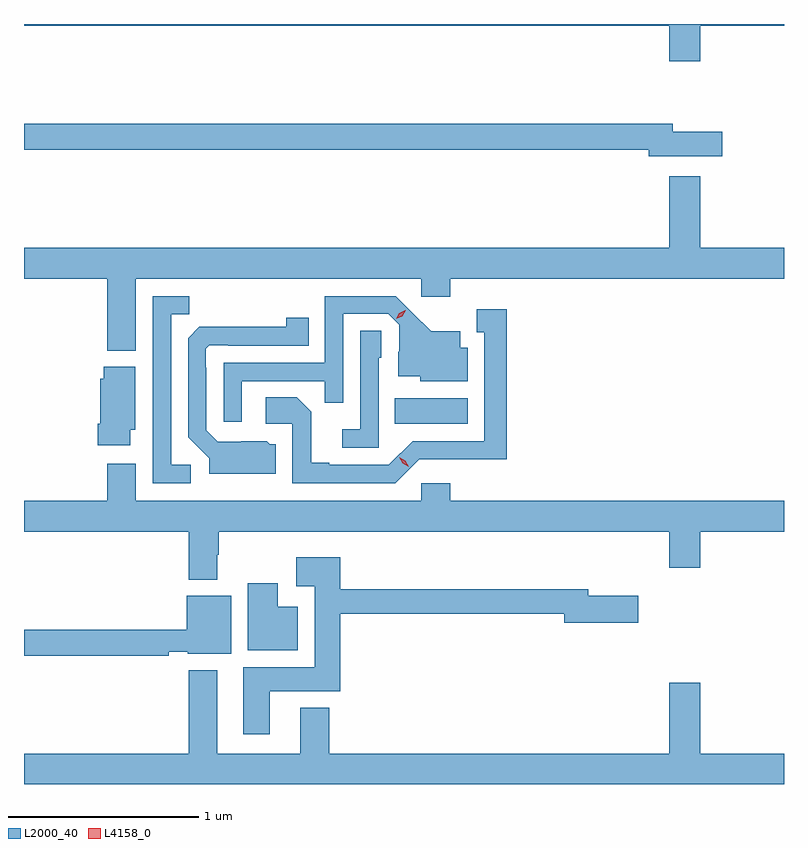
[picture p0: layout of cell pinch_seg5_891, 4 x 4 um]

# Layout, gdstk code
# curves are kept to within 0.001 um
import gdstk
lib = gdstk.Library(unit=1e-6, precision=1e-09)
def R(c, l, rs):  # rectangles x0, y0, x1, y1
    for r in rs: c.add(gdstk.rectangle(r[:2], r[2:], *l))
def P(c, l, *ps):  # polygons
    for p in ps: c.add(gdstk.Polygon(p, *l))
L2000_40 = (2000, 40)
L4158_0 = (4158, 0)

pinch_seg5_891 = lib.new_cell('pinch_seg5_891')
R(pinch_seg5_891, L2000_40, [(738.988,897.29,739.372,897.424)])
P(pinch_seg5_891, L2000_40, [(740.596,899.384),(741.037,899.384),(741.037,899.393),(737.037,899.393),(737.037,899.384),(740.432,899.384),(740.432,899.196),(740.596,899.196)],
  [(740.713,898.827),(740.452,898.827),(740.452,898.868),(737.037,898.868),(737.037,898.732),(740.324,898.732),(740.324,898.697),(740.713,898.697)],
  [(737.626,898.052),(739.128,898.052),(739.128,897.957),(739.28,897.957),(739.28,898.052),(741.037,898.052),(741.037,898.216),(740.596,898.216),(740.596,898.591),(740.432,898.591),(740.432,898.216),(737.037,898.216),(737.037,898.052),(737.474,898.052),(737.474,897.674),(737.626,897.674)],
  [(738.183,897.513),(738.619,897.513),(738.619,897.4),(738.717,897.4),(738.717,897.867),(738.954,897.867),(739.011,897.81),(739.011,897.668),(739.007,897.668),(739.007,897.539),(739.122,897.539),(739.122,897.512),(739.372,897.512),(739.372,897.688),(739.333,897.688),(739.333,897.775),(739.181,897.775),(738.994,897.96),(738.621,897.96),(738.621,897.609),(738.087,897.609),(738.087,897.3),(738.183,897.3)],
  [(737.914,897.072),(737.811,897.072),(737.811,897.865),(737.907,897.865),(737.907,897.96),(737.715,897.96),(737.715,896.976),(737.914,896.976)],
  [(739.116,897.102),(739.579,897.101),(739.579,897.892),(739.421,897.892),(739.421,897.771),(739.46,897.771),(739.46,897.198),(739.083,897.198),(738.957,897.072),(738.643,897.072),(738.643,897.085),(738.549,897.085),(738.549,897.352),(738.473,897.428),(738.309,897.428),(738.309,897.288),(738.45,897.288),(738.45,896.976),(738.99,896.976)],
  [(738.361,897.18),(738.33,897.18),(738.314,897.196),(738.057,897.195),(737.997,897.255),(737.997,897.584),(737.994,897.584),(737.994,897.684),(738.012,897.702),(738.112,897.702),(738.112,897.699),(738.536,897.699),(738.536,897.847),(738.418,897.847),(738.418,897.8),(737.96,897.799),(737.901,897.74),(737.901,897.218),(738.011,897.108),(738.011,897.026),(738.361,897.026)],
  [(738.903,897.636),(738.918,897.636),(738.918,897.779),(738.807,897.779),(738.807,897.259),(738.711,897.259),(738.711,897.162),(738.903,897.162)],
  [(737.596,897.258),(737.623,897.258),(737.623,897.589),(737.456,897.589),(737.456,897.525),(737.438,897.525),(737.438,897.289),(737.426,897.289),(737.426,897.177),(737.596,897.177)],
  [(738.055,896.6),(738.063,896.6),(738.063,896.72),(740.432,896.72),(740.432,896.532),(740.596,896.532),(740.596,896.72),(741.037,896.72),(741.037,896.884),(739.28,896.884),(739.28,896.977),(739.128,896.977),(739.128,896.884),(737.626,896.884),(737.626,897.079),(737.474,897.079),(737.474,896.884),(737.037,896.884),(737.037,896.72),(737.903,896.72),(737.903,896.468),(738.055,896.468)],
  [(738.331,895.88),(738.701,895.88),(738.701,896.29),(739.88,896.29),(739.88,896.243),(740.269,896.243),(740.269,896.385),(740.008,896.385),(740.008,896.419),(738.701,896.419),(738.701,896.587),(738.471,896.587),(738.471,896.435),(738.566,896.435),(738.566,896.008),(738.191,896.008),(738.191,895.656),(738.331,895.656)],
  [(738.478,896.326),(738.373,896.326),(738.373,896.449),(738.215,896.449),(738.215,896.096),(738.478,896.096)],
  [(737.798,896.088),(737.898,896.088),(737.898,896.078),(738.127,896.078),(738.127,896.383),(737.894,896.383),(737.894,896.204),(737.037,896.204),(737.037,896.068),(737.798,896.068)],
  [(741.037,895.552),(740.596,895.552),(740.596,895.927),(740.432,895.927),(740.432,895.552),(738.644,895.552),(738.644,895.795),(738.491,895.795),(738.491,895.552),(738.055,895.552),(738.055,895.993),(737.903,895.993),(737.903,895.552),(737.037,895.552),(737.037,895.393),(741.037,895.393)])
P(pinch_seg5_891, L4158_0, [(738.996,897.842),(738.996,897.842),(739.013,897.871),(739.044,897.886),(739.045,897.886),(739.045,897.886),(739.027,897.856),(738.996,897.842)],
  [(739.061,897.062),(739.03,897.081),(739.012,897.113),(739.012,897.114),(739.013,897.114),(739.044,897.095),(739.062,897.063),(739.062,897.062)])

lib.write_gds('pinch_seg5_891.gds')
